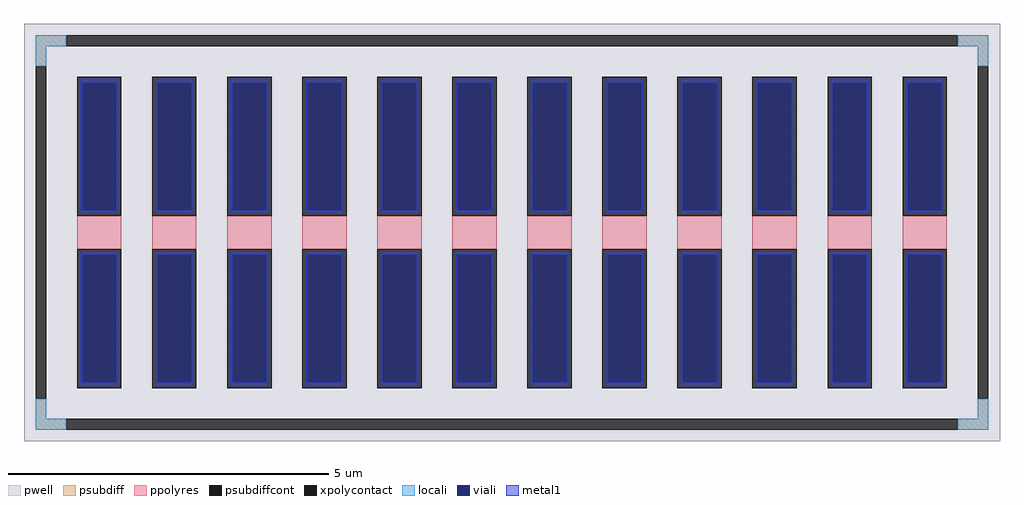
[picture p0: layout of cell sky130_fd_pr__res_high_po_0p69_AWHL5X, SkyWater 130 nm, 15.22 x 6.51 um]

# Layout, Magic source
magic
tech sky130A
magscale 1 2
<< pwell >>
rect -1522 -651 1522 651
<< psubdiff >>
rect -1486 581 -1390 615
rect 1390 581 1486 615
rect -1486 519 -1452 581
rect 1452 519 1486 581
rect -1486 -581 -1452 -519
rect 1452 -581 1486 -519
rect -1486 -615 -1390 -581
rect 1390 -615 1486 -581
<< psubdiffcont >>
rect -1390 581 1390 615
rect -1486 -519 -1452 519
rect 1452 -519 1486 519
rect -1390 -615 1390 -581
<< xpolycontact >>
rect -1356 53 -1218 485
rect -1356 -485 -1218 -53
rect -1122 53 -984 485
rect -1122 -485 -984 -53
rect -888 53 -750 485
rect -888 -485 -750 -53
rect -654 53 -516 485
rect -654 -485 -516 -53
rect -420 53 -282 485
rect -420 -485 -282 -53
rect -186 53 -48 485
rect -186 -485 -48 -53
rect 48 53 186 485
rect 48 -485 186 -53
rect 282 53 420 485
rect 282 -485 420 -53
rect 516 53 654 485
rect 516 -485 654 -53
rect 750 53 888 485
rect 750 -485 888 -53
rect 984 53 1122 485
rect 984 -485 1122 -53
rect 1218 53 1356 485
rect 1218 -485 1356 -53
<< ppolyres >>
rect -1356 -53 -1218 53
rect -1122 -53 -984 53
rect -888 -53 -750 53
rect -654 -53 -516 53
rect -420 -53 -282 53
rect -186 -53 -48 53
rect 48 -53 186 53
rect 282 -53 420 53
rect 516 -53 654 53
rect 750 -53 888 53
rect 984 -53 1122 53
rect 1218 -53 1356 53
<< locali >>
rect -1486 581 -1390 615
rect 1390 581 1486 615
rect -1486 519 -1452 581
rect 1452 519 1486 581
rect -1486 -581 -1452 -519
rect 1452 -581 1486 -519
rect -1486 -615 -1390 -581
rect 1390 -615 1486 -581
<< viali >>
rect -1340 70 -1234 467
rect -1106 70 -1000 467
rect -872 70 -766 467
rect -638 70 -532 467
rect -404 70 -298 467
rect -170 70 -64 467
rect 64 70 170 467
rect 298 70 404 467
rect 532 70 638 467
rect 766 70 872 467
rect 1000 70 1106 467
rect 1234 70 1340 467
rect -1340 -467 -1234 -70
rect -1106 -467 -1000 -70
rect -872 -467 -766 -70
rect -638 -467 -532 -70
rect -404 -467 -298 -70
rect -170 -467 -64 -70
rect 64 -467 170 -70
rect 298 -467 404 -70
rect 532 -467 638 -70
rect 766 -467 872 -70
rect 1000 -467 1106 -70
rect 1234 -467 1340 -70
<< metal1 >>
rect -1346 467 -1228 479
rect -1346 70 -1340 467
rect -1234 70 -1228 467
rect -1346 58 -1228 70
rect -1112 467 -994 479
rect -1112 70 -1106 467
rect -1000 70 -994 467
rect -1112 58 -994 70
rect -878 467 -760 479
rect -878 70 -872 467
rect -766 70 -760 467
rect -878 58 -760 70
rect -644 467 -526 479
rect -644 70 -638 467
rect -532 70 -526 467
rect -644 58 -526 70
rect -410 467 -292 479
rect -410 70 -404 467
rect -298 70 -292 467
rect -410 58 -292 70
rect -176 467 -58 479
rect -176 70 -170 467
rect -64 70 -58 467
rect -176 58 -58 70
rect 58 467 176 479
rect 58 70 64 467
rect 170 70 176 467
rect 58 58 176 70
rect 292 467 410 479
rect 292 70 298 467
rect 404 70 410 467
rect 292 58 410 70
rect 526 467 644 479
rect 526 70 532 467
rect 638 70 644 467
rect 526 58 644 70
rect 760 467 878 479
rect 760 70 766 467
rect 872 70 878 467
rect 760 58 878 70
rect 994 467 1112 479
rect 994 70 1000 467
rect 1106 70 1112 467
rect 994 58 1112 70
rect 1228 467 1346 479
rect 1228 70 1234 467
rect 1340 70 1346 467
rect 1228 58 1346 70
rect -1346 -70 -1228 -58
rect -1346 -467 -1340 -70
rect -1234 -467 -1228 -70
rect -1346 -479 -1228 -467
rect -1112 -70 -994 -58
rect -1112 -467 -1106 -70
rect -1000 -467 -994 -70
rect -1112 -479 -994 -467
rect -878 -70 -760 -58
rect -878 -467 -872 -70
rect -766 -467 -760 -70
rect -878 -479 -760 -467
rect -644 -70 -526 -58
rect -644 -467 -638 -70
rect -532 -467 -526 -70
rect -644 -479 -526 -467
rect -410 -70 -292 -58
rect -410 -467 -404 -70
rect -298 -467 -292 -70
rect -410 -479 -292 -467
rect -176 -70 -58 -58
rect -176 -467 -170 -70
rect -64 -467 -58 -70
rect -176 -479 -58 -467
rect 58 -70 176 -58
rect 58 -467 64 -70
rect 170 -467 176 -70
rect 58 -479 176 -467
rect 292 -70 410 -58
rect 292 -467 298 -70
rect 404 -467 410 -70
rect 292 -479 410 -467
rect 526 -70 644 -58
rect 526 -467 532 -70
rect 638 -467 644 -70
rect 526 -479 644 -467
rect 760 -70 878 -58
rect 760 -467 766 -70
rect 872 -467 878 -70
rect 760 -479 878 -467
rect 994 -70 1112 -58
rect 994 -467 1000 -70
rect 1106 -467 1112 -70
rect 994 -479 1112 -467
rect 1228 -70 1346 -58
rect 1228 -467 1234 -70
rect 1340 -467 1346 -70
rect 1228 -479 1346 -467
<< properties >>
string FIXED_BBOX -1469 -598 1469 598
string gencell sky130_fd_pr__res_high_po_0p69
string library sky130
string parameters w 0.690 l 0.69 m 1 nx 12 wmin 0.690 lmin 0.50 rho 319.8 val 884.495 dummy 0 dw 0.0 term 194.82 sterm 0.0 caplen 0 guard 1 glc 1 grc 1 gtc 1 gbc 1 compatible {sky130_fd_pr__res_high_po_0p35  sky130_fd_pr__res_high_po_0p69 sky130_fd_pr__res_high_po_1p41  sky130_fd_pr__res_high_po_2p85 sky130_fd_pr__res_high_po_5p73} snake 0 full_metal 1 wmax 0.690 n_guard 0 hv_guard 0 vias 1 viagb 0 viagt 0 viagl 0 viagr 0
<< end >>
